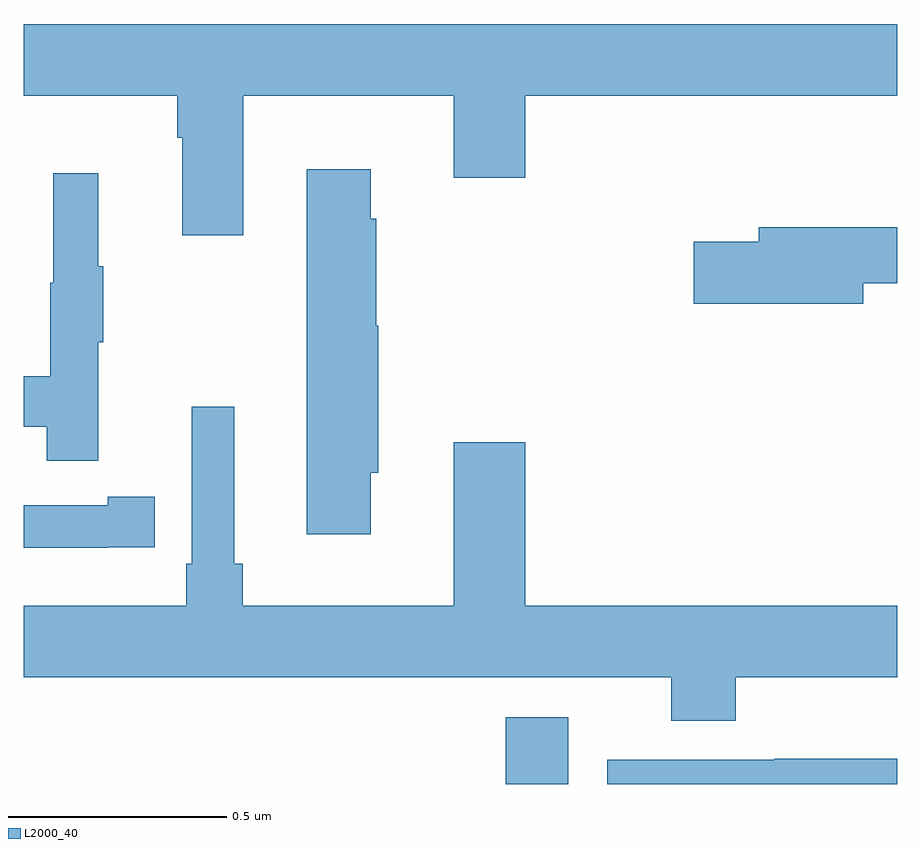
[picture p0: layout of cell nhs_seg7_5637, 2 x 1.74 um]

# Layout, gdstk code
import gdstk
lib = gdstk.Library(unit=1e-6, precision=1e-09)
def R(c, l, rs):  # rectangles x0, y0, x1, y1
    for r in rs: c.add(gdstk.rectangle(r[:2], r[2:], *l))
def P(c, l, *ps):  # polygons
    for p in ps: c.add(gdstk.Polygon(p, *l))
L2000_40 = (2000, 40)

nhs_seg7_5637 = lib.new_cell('nhs_seg7_5637')
R(nhs_seg7_5637, L2000_40, [(189.104,1039,189.247,1039.153)])
P(nhs_seg7_5637, L2000_40, [(188.503,1040.576),(188.984,1040.576),(188.984,1040.388),(189.148,1040.388),(189.148,1040.576),(190,1040.576),(190,1040.74),(188,1040.74),(188,1040.576),(188.351,1040.576),(188.351,1040.48),(188.363,1040.48),(188.363,1040.256),(188.503,1040.256)],
  [(188.794,1039.713),(188.812,1039.713),(188.812,1040.049),(188.807,1040.049),(188.807,1040.294),(188.794,1040.294),(188.794,1040.407),(188.648,1040.407),(188.648,1039.572),(188.794,1039.572)],
  [(188.171,1040.011),(188.182,1040.011),(188.182,1040.185),(188.171,1040.185),(188.171,1040.398),(188.068,1040.398),(188.068,1040.148),(188.061,1040.148),(188.061,1039.934),(188,1039.934),(188,1039.818),(188.053,1039.818),(188.053,1039.74),(188.171,1039.74)],
  [(189.922,1040.146),(190,1040.146),(190,1040.275),(189.683,1040.275),(189.683,1040.241),(189.534,1040.241),(189.534,1040.099),(189.922,1040.099)],
  [(189.63,1039.244),(190,1039.244),(190,1039.408),(189.148,1039.408),(189.148,1039.783),(188.984,1039.783),(188.984,1039.408),(188.501,1039.408),(188.501,1039.504),(188.482,1039.504),(188.482,1039.864),(188.385,1039.864),(188.385,1039.504),(188.372,1039.504),(188.372,1039.408),(188,1039.408),(188,1039.244),(189.482,1039.244),(189.482,1039.145),(189.63,1039.145)],
  [(188.192,1039.542),(188.3,1039.542),(188.3,1039.658),(188.192,1039.658),(188.192,1039.638),(188,1039.638),(188,1039.541),(188.192,1039.541)],
  [(190,1039.058),(189.718,1039.058),(189.718,1039.056),(189.336,1039.056),(189.336,1039),(190,1039)])

lib.write_gds('nhs_seg7_5637.gds')
